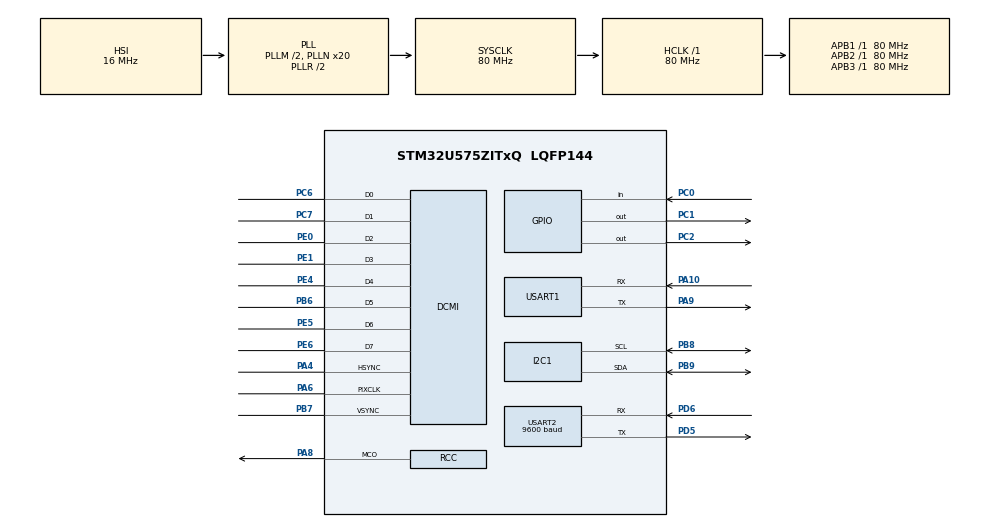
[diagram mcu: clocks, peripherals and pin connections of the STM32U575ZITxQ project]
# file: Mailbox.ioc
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CORTEX_M33_NS.userName=CORTEX_M33
DCMI.HSPolarity=DCMI_HSPOLARITY_HIGH
DCMI.JPEGMode=DCMI_JPEG_ENABLE
DCMI.PCKPolarity=DCMI_PCKPOLARITY_RISING
DCMI.VSPolarity=DCMI_VSPOLARITY_HIGH
GPDMA1.DESTDATAWIDTH_GPDMACH0=DMA_DEST_DATAWIDTH_WORD
GPDMA1.DESTINC_GPDMACH0=DMA_DINC_INCREMENTED
GPDMA1.IPHANDLE_GPDMACH0-SIMPLEREQUEST_GPDMACH0=__NULL
GPDMA1.PRIORITY_GPDMACH0=DMA_LOW_PRIORITY_HIGH_WEIGHT
GPDMA1.REQUEST_GPDMACH0=GPDMA1_REQUEST_DCMI_PSSI
GPDMA1.SRCDATAWIDTH_GPDMACH0=DMA_SRC_DATAWIDTH_WORD
I2C1.Timing=0x10909CEC
Mcu.Family=STM32U5
Mcu.Name=STM32U575ZITxQ
Mcu.Package=LQFP144
NVIC.DCMI_PSSI_IRQn=true\:0\:0\:false\:false\:true\:true\:true\:true
NVIC.GPDMA1_Channel0_IRQn=true\:0\:0\:false\:false\:true\:true\:true\:true
NVIC.PriorityGroup=NVIC_PRIORITYGROUP_4
NVIC.USART2_IRQn=true\:0\:0\:false\:false\:true\:true\:true\:true
PA10.Mode=Asynchronous
PA10.Signal=USART1_RX
PA4.Mode=Slave_8_bits_External_Synchro
PA4.Signal=DCMI_HSYNC
PA6.Mode=Slave_8_bits_External_Synchro
PA6.Signal=DCMI_PIXCLK
PA8.Mode=Clock-out
PA8.Signal=RCC_MCO
PA9.Mode=Asynchronous
PA9.Signal=USART1_TX
PB6.Mode=Slave_8_bits_External_Synchro
PB6.Signal=DCMI_D5
PB7.Mode=Slave_8_bits_External_Synchro
PB7.Signal=DCMI_VSYNC
PB8.Mode=I2C
PB8.Signal=I2C1_SCL
PB9.Mode=I2C
PB9.Signal=I2C1_SDA
PC0.Signal=GPIO_Input
PC1.Signal=GPIO_Output
PC2.Signal=GPIO_Output
PC6.Mode=Slave_8_bits_External_Synchro
PC6.Signal=DCMI_D0
PC7.Mode=Slave_8_bits_External_Synchro
PC7.Signal=DCMI_D1
PD5.Mode=Asynchronous
PD5.Signal=USART2_TX
PD6.Mode=Asynchronous
PD6.Signal=USART2_RX
PE0.Mode=Slave_8_bits_External_Synchro
PE0.Signal=DCMI_D2
PE1.Mode=Slave_8_bits_External_Synchro
PE1.Signal=DCMI_D3
PE4.Mode=Slave_8_bits_External_Synchro
PE4.Signal=DCMI_D4
PE5.Mode=Slave_8_bits_External_Synchro
PE5.Signal=DCMI_D6
PE6.Mode=Slave_8_bits_External_Synchro
PE6.Signal=DCMI_D7
ProjectManager.HeapSize=0x200
ProjectManager.StackSize=0x400
ProjectManager.TargetToolchain=STM32CubeIDE
RCC.ADCFreq_Value=16000000
RCC.AHBFreq_Value=80000000
RCC.APB1Freq_Value=80000000
RCC.APB1TimFreq_Value=80000000
RCC.APB2Freq_Value=80000000
RCC.APB2TimFreq_Value=80000000
RCC.APB3Freq_Value=80000000
RCC.CortexFreq_Value=80000000
RCC.EPOD_VALUE=16000000
RCC.HCLKFreq_Value=80000000
RCC.HSE_VALUE=16000000
RCC.HSI48_VALUE=48000000
RCC.HSI_VALUE=16000000
RCC.LSE_VALUE=32768
RCC.LSIDIV_VALUE=32000
RCC.MSI_VALUE=4000000
RCC.PLLM=2
RCC.PLLN=20
RCC.PLLSourceVirtual=RCC_PLLSOURCE_HSI
RCC.RCC_MCO1SourceVirtual=RCC_MCO1SOURCE_HSI48
RCC.RCC_MCODiv=RCC_MCODIV_2
RCC.SYSCLKFreq_VALUE=80000000
RCC.SYSCLKSource=RCC_SYSCLKSOURCE_PLLCLK
RCC.USBFreq_Value=48000000
RCC.VCOOutputFreq_Value=160000000
USART1.VirtualMode-Asynchronous=VM_ASYNC
USART2.BaudRate=9600
USART2.VirtualMode-Asynchronous=VM_ASYNC
VP_GPDMA1_VS_GPDMACH0.Mode=SIMPLEREQUEST_GPDMACH0
VP_LPBAMQUEUE_VS_QUEUE.Mode=QUEUEMODE
VP_LPBAM_VS_SIG1.Mode=SmartRun
VP_LPBAM_VS_SIG4.Mode=LPDMA1
VP_MEMORYMAP_VS_MEMORYMAP.Mode=CurAppReg
VP_PWR_VS_SECSignals.Mode=Security/Privilege
board=custom

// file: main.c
/* USER CODE BEGIN Header */
/**
  ******************************************************************************
  * @file           : main.c
  * @brief          : Main program body
  ******************************************************************************
  * @attention
  *
  * Copyright (c) 2026 STMicroelectronics.
  * All rights reserved.
  *
  * This software is licensed under terms that can be found in the LICENSE file
  * in the root directory of this software component.
  * If no LICENSE file comes with this software, it is provided AS-IS.
  *
  ******************************************************************************
  */
/* USER CODE END Header */
#include "main.h"

/* USER CODE BEGIN Includes */
#include "camera.h"
#include "debug.h"
#include "lora_sender.h"
#include "mailbox.h"
/* USER CODE END Includes */

DCMI_HandleTypeDef hdcmi;
DMA_HandleTypeDef handle_GPDMA1_Channel0;

I2C_HandleTypeDef hi2c1;

UART_HandleTypeDef huart1;
UART_HandleTypeDef huart2;

void SystemClock_Config(void);
static void MX_GPIO_Init(void);
static void MX_GPDMA1_Init(void);
static void MX_DCMI_Init(void);
static void MX_I2C1_Init(void);
static void MX_USART1_UART_Init(void);
static void MX_USART2_UART_Init(void);

int main(void)
{

  /* MCU Configuration--------------------------------------------------------*/

  /* Reset of all peripherals, Initializes the Flash interface and the Systick. */
  HAL_Init();

  /* Configure the system clock */
  SystemClock_Config();

  /* USER CODE BEGIN SysInit */
  __HAL_RCC_PWR_CLK_ENABLE();
  HAL_PWREx_EnableVddIO2();
  /* USER CODE END SysInit */

  /* Initialize all configured peripherals */
  MX_GPIO_Init();
  MX_GPDMA1_Init();
  MX_DCMI_Init();
  MX_I2C1_Init();
  MX_USART1_UART_Init();
  MX_USART2_UART_Init();
  /* USER CODE BEGIN 2 */
	Debug_Init(&huart1);
	Mailbox_Init();
	HAL_Delay(200);

	if (!Camera_Init(&hi2c1, &hdcmi)) {
	  Debug_Printf("Camera init failed\r\n");
	  Error_Handler();
	}

	LoRaSender_Init(&huart2);
  /* USER CODE END 2 */

  /* Infinite loop */
  while (1)
  {

    /* USER CODE BEGIN 3 */
	  Mailbox_Task();
	  HAL_Delay(2);
  }
  /* USER CODE END 3 */
}

void SystemClock_Config(void)
{
  RCC_OscInitTypeDef RCC_OscInitStruct = {0};
  RCC_ClkInitTypeDef RCC_ClkInitStruct = {0};

  /** Configure the main internal regulator output voltage
  */
  if (HAL_PWREx_ControlVoltageScaling(PWR_REGULATOR_VOLTAGE_SCALE2) != HAL_OK)
  {
    Error_Handler();
  }

  /** Initializes the CPU, AHB and APB buses clocks
  */
  RCC_OscInitStruct.OscillatorType = RCC_OSCILLATORTYPE_HSI48|RCC_OSCILLATORTYPE_HSI;
  RCC_OscInitStruct.HSIState = RCC_HSI_ON;
  RCC_OscInitStruct.HSI48State = RCC_HSI48_ON;
  RCC_OscInitStruct.HSICalibrationValue = RCC_HSICALIBRATION_DEFAULT;
  RCC_OscInitStruct.PLL.PLLState = RCC_PLL_ON;
  RCC_OscInitStruct.PLL.PLLSource = RCC_PLLSOURCE_HSI;
  RCC_OscInitStruct.PLL.PLLMBOOST = RCC_PLLMBOOST_DIV1;
  RCC_OscInitStruct.PLL.PLLM = 2;
  RCC_OscInitStruct.PLL.PLLN = 20;
  RCC_OscInitStruct.PLL.PLLP = 2;
  RCC_OscInitStruct.PLL.PLLQ = 2;
  RCC_OscInitStruct.PLL.PLLR = 2;
  RCC_OscInitStruct.PLL.PLLRGE = RCC_PLLVCIRANGE_1;
  RCC_OscInitStruct.PLL.PLLFRACN = 0;
  if (HAL_RCC_OscConfig(&RCC_OscInitStruct) != HAL_OK)
  {
    Error_Handler();
  }

  /** Initializes the CPU, AHB and APB buses clocks
  */
  RCC_ClkInitStruct.ClockType = RCC_CLOCKTYPE_HCLK|RCC_CLOCKTYPE_SYSCLK
                              |RCC_CLOCKTYPE_PCLK1|RCC_CLOCKTYPE_PCLK2
                              |RCC_CLOCKTYPE_PCLK3;
  RCC_ClkInitStruct.SYSCLKSource = RCC_SYSCLKSOURCE_PLLCLK;
  RCC_ClkInitStruct.AHBCLKDivider = RCC_SYSCLK_DIV1;
  RCC_ClkInitStruct.APB1CLKDivider = RCC_HCLK_DIV1;
  RCC_ClkInitStruct.APB2CLKDivider = RCC_HCLK_DIV1;
  RCC_ClkInitStruct.APB3CLKDivider = RCC_HCLK_DIV1;

  if (HAL_RCC_ClockConfig(&RCC_ClkInitStruct, FLASH_LATENCY_2) != HAL_OK)
  {
    Error_Handler();
  }

  /** MCO configuration
  */
  HAL_RCC_MCOConfig(RCC_MCO1, RCC_MCO1SOURCE_HSI48, RCC_MCODIV_2);
}

static void MX_DCMI_Init(void)
{

  hdcmi.Instance = DCMI;
  hdcmi.Init.SynchroMode = DCMI_SYNCHRO_HARDWARE;
  hdcmi.Init.PCKPolarity = DCMI_PCKPOLARITY_RISING;
  hdcmi.Init.VSPolarity = DCMI_VSPOLARITY_HIGH;
  hdcmi.Init.HSPolarity = DCMI_HSPOLARITY_HIGH;
  hdcmi.Init.CaptureRate = DCMI_CR_ALL_FRAME;
  hdcmi.Init.ExtendedDataMode = DCMI_EXTEND_DATA_8B;
  hdcmi.Init.JPEGMode = DCMI_JPEG_ENABLE;
  hdcmi.Init.ByteSelectMode = DCMI_BSM_ALL;
  hdcmi.Init.ByteSelectStart = DCMI_OEBS_ODD;
  hdcmi.Init.LineSelectMode = DCMI_LSM_ALL;
  hdcmi.Init.LineSelectStart = DCMI_OELS_ODD;
  if (HAL_DCMI_Init(&hdcmi) != HAL_OK)
  {
    Error_Handler();
  }

}

static void MX_GPDMA1_Init(void)
{

  /* Peripheral clock enable */
  __HAL_RCC_GPDMA1_CLK_ENABLE();

  /* GPDMA1 interrupt Init */
    HAL_NVIC_SetPriority(GPDMA1_Channel0_IRQn, 0, 0);
    HAL_NVIC_EnableIRQ(GPDMA1_Channel0_IRQn);

}

static void MX_I2C1_Init(void)
{

  hi2c1.Instance = I2C1;
  hi2c1.Init.Timing = 0x10909CEC;
  hi2c1.Init.OwnAddress1 = 0;
  hi2c1.Init.AddressingMode = I2C_ADDRESSINGMODE_7BIT;
  hi2c1.Init.DualAddressMode = I2C_DUALADDRESS_DISABLE;
  hi2c1.Init.OwnAddress2 = 0;
  hi2c1.Init.OwnAddress2Masks = I2C_OA2_NOMASK;
  hi2c1.Init.GeneralCallMode = I2C_GENERALCALL_DISABLE;
  hi2c1.Init.NoStretchMode = I2C_NOSTRETCH_DISABLE;
  if (HAL_I2C_Init(&hi2c1) != HAL_OK)
  {
    Error_Handler();
  }

  /** Configure Analogue filter
  */
  if (HAL_I2CEx_ConfigAnalogFilter(&hi2c1, I2C_ANALOGFILTER_ENABLE) != HAL_OK)
  {
    Error_Handler();
  }

  /** Configure Digital filter
  */
  if (HAL_I2CEx_ConfigDigitalFilter(&hi2c1, 0) != HAL_OK)
  {
    Error_Handler();
  }

}

static void MX_USART1_UART_Init(void)
{

  huart1.Instance = USART1;
  huart1.Init.BaudRate = 115200;
  huart1.Init.WordLength = UART_WORDLENGTH_8B;
  huart1.Init.StopBits = UART_STOPBITS_1;
  huart1.Init.Parity = UART_PARITY_NONE;
  huart1.Init.Mode = UART_MODE_TX_RX;
  huart1.Init.HwFlowCtl = UART_HWCONTROL_NONE;
  huart1.Init.OverSampling = UART_OVERSAMPLING_16;
  huart1.Init.OneBitSampling = UART_ONE_BIT_SAMPLE_DISABLE;
  huart1.Init.ClockPrescaler = UART_PRESCALER_DIV1;
  huart1.AdvancedInit.AdvFeatureInit = UART_ADVFEATURE_NO_INIT;
  if (HAL_UART_Init(&huart1) != HAL_OK)
  {
    Error_Handler();
  }
  if (HAL_UARTEx_SetTxFifoThreshold(&huart1, UART_TXFIFO_THRESHOLD_1_8) != HAL_OK)
  {
    Error_Handler();
  }
  if (HAL_UARTEx_SetRxFifoThreshold(&huart1, UART_RXFIFO_THRESHOLD_1_8) != HAL_OK)
  {
    Error_Handler();
  }
  if (HAL_UARTEx_DisableFifoMode(&huart1) != HAL_OK)
  {
    Error_Handler();
  }

}

static void MX_USART2_UART_Init(void)
{

  huart2.Instance = USART2;
  huart2.Init.BaudRate = 9600;
  huart2.Init.WordLength = UART_WORDLENGTH_8B;
  huart2.Init.StopBits = UART_STOPBITS_1;
  huart2.Init.Parity = UART_PARITY_NONE;
  huart2.Init.Mode = UART_MODE_TX_RX;
  huart2.Init.HwFlowCtl = UART_HWCONTROL_NONE;
  huart2.Init.OverSampling = UART_OVERSAMPLING_16;
  huart2.Init.OneBitSampling = UART_ONE_BIT_SAMPLE_DISABLE;
  huart2.Init.ClockPrescaler = UART_PRESCALER_DIV1;
  huart2.AdvancedInit.AdvFeatureInit = UART_ADVFEATURE_NO_INIT;
  if (HAL_UART_Init(&huart2) != HAL_OK)
  {
    Error_Handler();
  }
  if (HAL_UARTEx_SetTxFifoThreshold(&huart2, UART_TXFIFO_THRESHOLD_1_8) != HAL_OK)
  {
    Error_Handler();
  }
  if (HAL_UARTEx_SetRxFifoThreshold(&huart2, UART_RXFIFO_THRESHOLD_1_8) != HAL_OK)
  {
    Error_Handler();
  }
  if (HAL_UARTEx_DisableFifoMode(&huart2) != HAL_OK)
  {
    Error_Handler();
  }

}

static void MX_GPIO_Init(void)
{
  GPIO_InitTypeDef GPIO_InitStruct = {0};

  /* GPIO Ports Clock Enable */
  __HAL_RCC_GPIOE_CLK_ENABLE();
  __HAL_RCC_GPIOC_CLK_ENABLE();
  __HAL_RCC_GPIOA_CLK_ENABLE();
  __HAL_RCC_GPIOD_CLK_ENABLE();
  __HAL_RCC_GPIOB_CLK_ENABLE();

  /*Configure GPIO pin Output Level */
  HAL_GPIO_WritePin(GPIOC, GPIO_PIN_1|GPIO_PIN_2, GPIO_PIN_RESET);

  /*Configure GPIO pin : PC0 */
  GPIO_InitStruct.Pin = GPIO_PIN_0;
  GPIO_InitStruct.Mode = GPIO_MODE_INPUT;
  GPIO_InitStruct.Pull = GPIO_NOPULL;
  HAL_GPIO_Init(GPIOC, &GPIO_InitStruct);

  /*Configure GPIO pins : PC1 PC2 */
  GPIO_InitStruct.Pin = GPIO_PIN_1|GPIO_PIN_2;
  GPIO_InitStruct.Mode = GPIO_MODE_OUTPUT_PP;
  GPIO_InitStruct.Pull = GPIO_NOPULL;
  GPIO_InitStruct.Speed = GPIO_SPEED_FREQ_LOW;
  HAL_GPIO_Init(GPIOC, &GPIO_InitStruct);

  /*Configure GPIO pin : PA8 */
  GPIO_InitStruct.Pin = GPIO_PIN_8;
  GPIO_InitStruct.Mode = GPIO_MODE_AF_PP;
  GPIO_InitStruct.Pull = GPIO_NOPULL;
  GPIO_InitStruct.Speed = GPIO_SPEED_FREQ_HIGH;
  GPIO_InitStruct.Alternate = GPIO_AF0_MCO;
  HAL_GPIO_Init(GPIOA, &GPIO_InitStruct);

}

void Error_Handler(void)
{
  __disable_irq();
  while (1)
  {
  }
}
